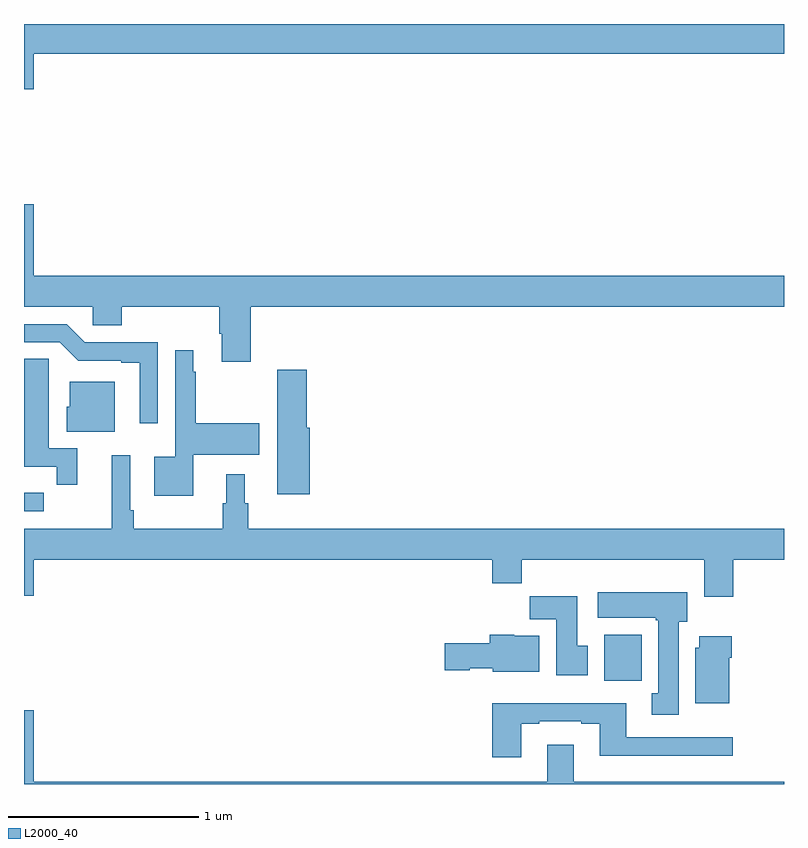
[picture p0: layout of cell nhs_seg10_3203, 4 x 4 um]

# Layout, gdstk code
import gdstk
lib = gdstk.Library(unit=1e-6, precision=1e-09)
def R(c, l, rs):  # rectangles x0, y0, x1, y1
    for r in rs: c.add(gdstk.rectangle(r[:2], r[2:], *l))
def P(c, l, *ps):  # polygons
    for p in ps: c.add(gdstk.Polygon(p, *l))
L2000_40 = (2000, 40)

nhs_seg10_3203 = lib.new_cell('nhs_seg10_3203')
R(nhs_seg10_3203, L2000_40, [(288.053,1269.044,288.25,1269.286), (285,1269.936,285.103,1270.032)])
P(nhs_seg10_3203, L2000_40, [(285.052,1272.344),(289,1272.344),(289,1272.5),(285,1272.5),(285,1272.156),(285.052,1272.156)],
  [(286.193,1271.012),(289,1271.012),(289,1271.176),(285.052,1271.176),(285.052,1271.551),(285,1271.551),(285,1271.012),(285.363,1271.012),(285.363,1270.914),(285.515,1270.914),(285.515,1271.012),(286.028,1271.012),(286.028,1270.87),(286.04,1270.87),(286.04,1270.722),(286.193,1270.722)],
  [(285.705,1270.824),(285.321,1270.824),(285.225,1270.92),(285,1270.92),(285,1270.824),(285.189,1270.824),(285.285,1270.728),(285.512,1270.728),(285.512,1270.716),(285.608,1270.716),(285.608,1270.398),(285.705,1270.398)],
  [(285.892,1270.232),(286.237,1270.232),(286.237,1270.398),(285.904,1270.398),(285.904,1270.67),(285.892,1270.67),(285.892,1270.783),(285.795,1270.783),(285.795,1270.222),(285.686,1270.222),(285.686,1270.016),(285.892,1270.016)],
  [(285.281,1270.266),(285.13,1270.266),(285.13,1270.628),(285.129,1270.628),(285.129,1270.739),(285,1270.739),(285,1270.17),(285.172,1270.17),(285.172,1270.074),(285.281,1270.074)],
  [(286.505,1270.374),(286.487,1270.374),(286.487,1270.681),(286.333,1270.681),(286.333,1270.486),(286.334,1270.486),(286.334,1270.026),(286.505,1270.026)],
  [(285.478,1270.618),(285.242,1270.618),(285.242,1270.485),(285.224,1270.485),(285.224,1270.355),(285.478,1270.355)],
  [(288.734,1269.68),(289,1269.68),(289,1269.844),(286.181,1269.844),(286.181,1269.978),(286.162,1269.978),(286.162,1270.129),(286.064,1270.129),(286.064,1269.978),(286.045,1269.978),(286.045,1269.844),(285.578,1269.844),(285.578,1269.94),(285.558,1269.94),(285.558,1270.231),(285.461,1270.231),(285.461,1269.844),(285,1269.844),(285,1269.492),(285.052,1269.492),(285.052,1269.68),(287.465,1269.68),(287.465,1269.556),(287.621,1269.556),(287.621,1269.68),(288.581,1269.68),(288.581,1269.486),(288.734,1269.486)],
  [(288.445,1269.354),(288.49,1269.354),(288.49,1269.508),(288.021,1269.508),(288.021,1269.374),(288.325,1269.374),(288.325,1269.361),(288.338,1269.361),(288.338,1268.978),(288.305,1268.978),(288.305,1268.865),(288.445,1268.865)],
  [(287.968,1269.228),(287.911,1269.228),(287.911,1269.487),(287.662,1269.487),(287.662,1269.368),(287.801,1269.368),(287.801,1269.072),(287.968,1269.072)],
  [(287.713,1269.28),(287.58,1269.28),(287.58,1269.286),(287.45,1269.286),(287.45,1269.24),(287.214,1269.24),(287.214,1269.098),(287.346,1269.098),(287.346,1269.11),(287.466,1269.11),(287.466,1269.092),(287.713,1269.092)],
  [(288.712,1269.164),(288.725,1269.164),(288.725,1269.277),(288.554,1269.277),(288.554,1269.216),(288.533,1269.216),(288.533,1268.924),(288.712,1268.924)],
  [(287.617,1268.817),(287.713,1268.817),(287.713,1268.829),(287.933,1268.829),(287.933,1268.817),(288.029,1268.817),(288.029,1268.648),(288.73,1268.648),(288.73,1268.745),(288.169,1268.745),(288.169,1268.926),(287.465,1268.926),(287.465,1268.64),(287.617,1268.64)],
  [(289,1268.512),(287.893,1268.512),(287.893,1268.707),(287.753,1268.707),(287.753,1268.512),(285.052,1268.512),(285.052,1268.887),(285,1268.887),(285,1268.5),(289,1268.5)])

lib.write_gds('nhs_seg10_3203.gds')
